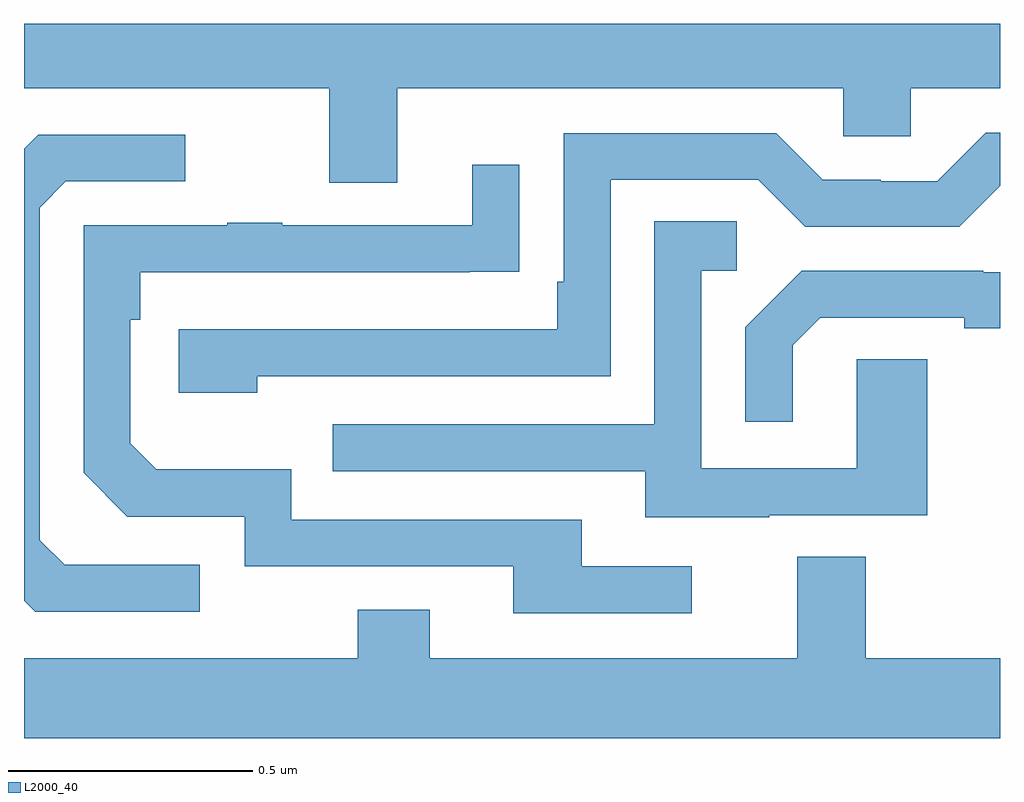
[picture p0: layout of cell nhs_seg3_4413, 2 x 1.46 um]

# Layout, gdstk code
import gdstk
lib = gdstk.Library(unit=1e-6, precision=1e-09)
def P(c, l, *ps):  # polygons
    for p in ps: c.add(gdstk.Polygon(p, *l))
L2000_40 = (2000, 40)

nhs_seg3_4413 = lib.new_cell('nhs_seg3_4413')
P(nhs_seg3_4413, L2000_40, [(166.765,682.268),(167.679,682.268),(167.679,682.17),(167.817,682.17),(167.817,682.268),(168,682.268),(168,682.4),(166,682.4),(166,682.268),(166.625,682.268),(166.625,682.074),(166.765,682.074)],
  [(166.478,681.678),(167.202,681.678),(167.202,682.08),(167.505,682.08),(167.601,681.984),(167.916,681.984),(168,682.068),(168,682.177),(167.971,682.177),(167.871,682.077),(167.756,682.077),(167.756,682.08),(167.637,682.08),(167.541,682.176),(167.106,682.176),(167.106,681.871),(167.093,681.871),(167.093,681.774),(166.317,681.774),(166.317,681.644),(166.478,681.644)],
  [(166.36,681.291),(166.083,681.291),(166.032,681.342),(166.032,682.023),(166.086,682.077),(166.33,682.077),(166.33,682.173),(166.029,682.173),(166,682.144),(166,681.218),(166.023,681.195),(166.36,681.195)],
  [(167.368,681.288),(167.143,681.288),(167.143,681.384),(166.548,681.384),(166.548,681.487),(166.271,681.487),(166.218,681.54),(166.218,681.794),(166.238,681.794),(166.238,681.891),(166.913,681.891),(166.913,681.892),(167.015,681.892),(167.015,682.111),(166.919,682.111),(166.919,681.987),(166.529,681.987),(166.529,681.992),(166.417,681.992),(166.417,681.987),(166.122,681.987),(166.122,681.48),(166.212,681.39),(166.452,681.39),(166.452,681.288),(167.003,681.288),(167.003,681.192),(167.368,681.192)],
  [(167.527,681.393),(167.851,681.393),(167.851,681.713),(167.706,681.713),(167.706,681.489),(167.388,681.489),(167.388,681.894),(167.461,681.894),(167.461,681.995),(167.292,681.995),(167.292,681.579),(166.633,681.579),(166.633,681.483),(167.273,681.483),(167.273,681.389),(167.527,681.389)],
  [(167.575,681.741),(167.632,681.798),(167.927,681.798),(167.927,681.776),(168,681.776),(168,681.891),(167.966,681.891),(167.966,681.894),(167.594,681.894),(167.478,681.778),(167.478,681.585),(167.575,681.585)],
  [(168,681.1),(167.725,681.1),(167.725,681.308),(167.585,681.308),(167.585,681.1),(166.831,681.1),(166.831,681.199),(166.684,681.199),(166.684,681.1),(166,681.1),(166,680.936),(168,680.936)])

lib.write_gds('nhs_seg3_4413.gds')
